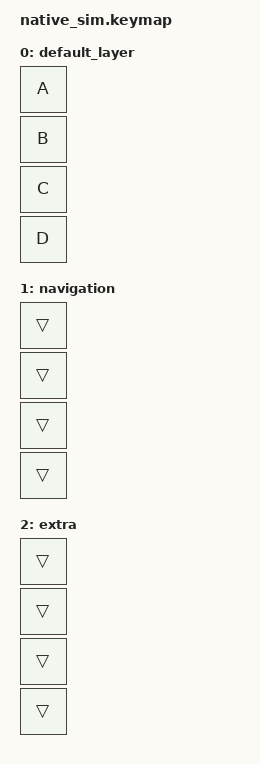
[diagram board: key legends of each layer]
#include "../test.dtsi"
#include <dt-bindings/zmk/keys.h>
#include <behaviors.dtsi>
#include <dt-bindings/zmk/kscan_mock.h>

/ {
	keymap {
		compatible = "zmk,keymap";

		default_layer {
			bindings = <
			&kp A
			&kp B
			&kp C
			&kp D
			>;
		};
		navigation { bindings = <&trans &trans &trans &trans>; };
		extra { bindings = <&trans &trans &trans &trans>; };
	};
};

&kscan {
	events = <
	ZMK_MOCK_PRESS(0,0,10)
	ZMK_MOCK_RELEASE(0,0,10)
	>;
};
